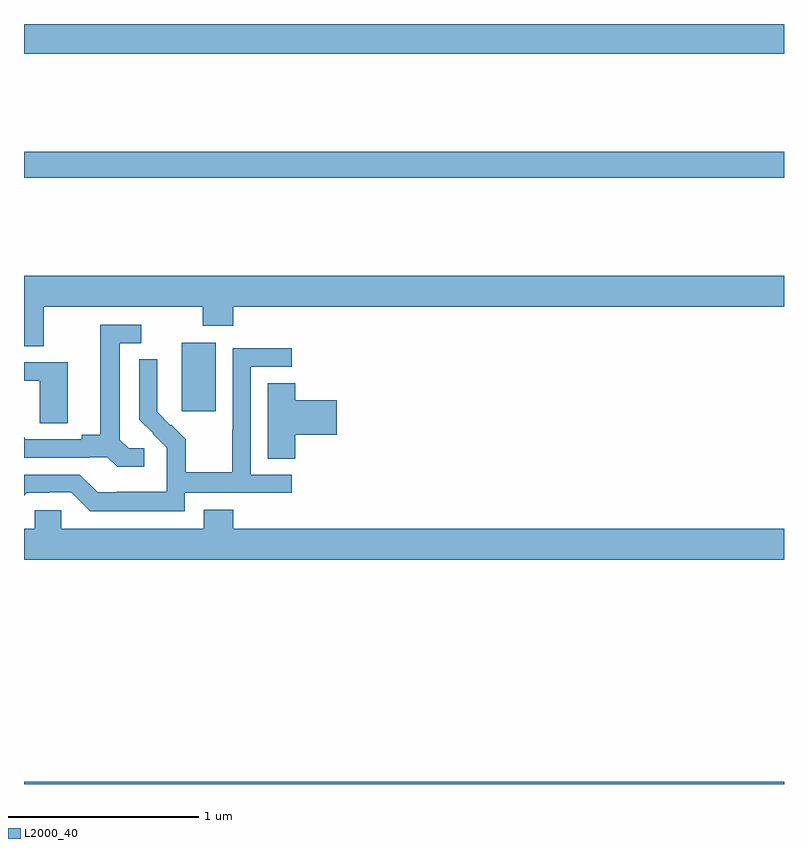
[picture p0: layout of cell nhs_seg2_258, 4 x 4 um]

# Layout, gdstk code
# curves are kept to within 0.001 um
import gdstk
lib = gdstk.Library(unit=1e-6, precision=1e-09)
def R(c, l, rs):  # rectangles x0, y0, x1, y1
    for r in rs: c.add(gdstk.rectangle(r[:2], r[2:], *l))
def P(c, l, *ps):  # polygons
    for p in ps: c.add(gdstk.Polygon(p, *l))
L2000_40 = (2000, 40)

nhs_seg2_258 = lib.new_cell('nhs_seg2_258')
R(nhs_seg2_258, L2000_40, [(123,635.8,127,635.812), (123.83,637.761,124.009,638.122), (123,638.992,127,639.128), (123,639.644,127,639.8)])
P(nhs_seg2_258, L2000_40, [(123.103,638.312),(123.94,638.312),(123.94,638.213),(124.1,638.213),(124.1,638.312),(127,638.312),(127,638.476),(123,638.476),(123,638.104),(123.103,638.104)],
  [(123.634,637.566),(123.552,637.566),(123.505,637.613),(123.505,638.121),(123.616,638.121),(123.616,638.217),(123.401,638.217),(123.401,637.637),(123.305,637.637),(123.305,637.614),(123.01,637.614),(123,637.624),(123,637.518),(123.344,637.518),(123.344,637.521),(123.438,637.521),(123.49,637.469),(123.634,637.469)],
  [(123.846,637.332),(124.408,637.332),(124.408,637.428),(124.194,637.428),(124.194,637.995),(124.408,637.995),(124.408,638.094),(124.098,638.094),(124.098,637.664),(124.096,637.664),(124.096,637.441),(123.851,637.441),(123.851,637.615),(123.774,637.692),(123.771,637.689),(123.701,637.76),(123.702,638.036),(123.606,638.036),(123.606,637.718),(123.752,637.57),(123.752,637.473),(123.75,637.473),(123.75,637.339),(123.487,637.339),(123.487,637.335),(123.387,637.335),(123.294,637.428),(123,637.428),(123,637.317),(123.015,637.332),(123.134,637.332),(123.134,637.335),(123.249,637.335),(123.349,637.235),(123.846,637.235)],
  [(123.229,638.019),(123,638.019),(123,637.923),(123.084,637.923),(123.084,637.699),(123.229,637.699)],
  [(124.427,637.637),(124.645,637.637),(124.645,637.82),(124.427,637.82),(124.427,637.91),(124.283,637.91),(124.283,637.513),(124.427,637.513)],
  [(127,637.144),(124.1,637.144),(124.1,637.243),(123.947,637.243),(123.947,637.144),(123.195,637.144),(123.195,637.242),(123.057,637.242),(123.057,637.144),(123,637.144),(123,636.98),(127,636.98)])

lib.write_gds('nhs_seg2_258.gds')
